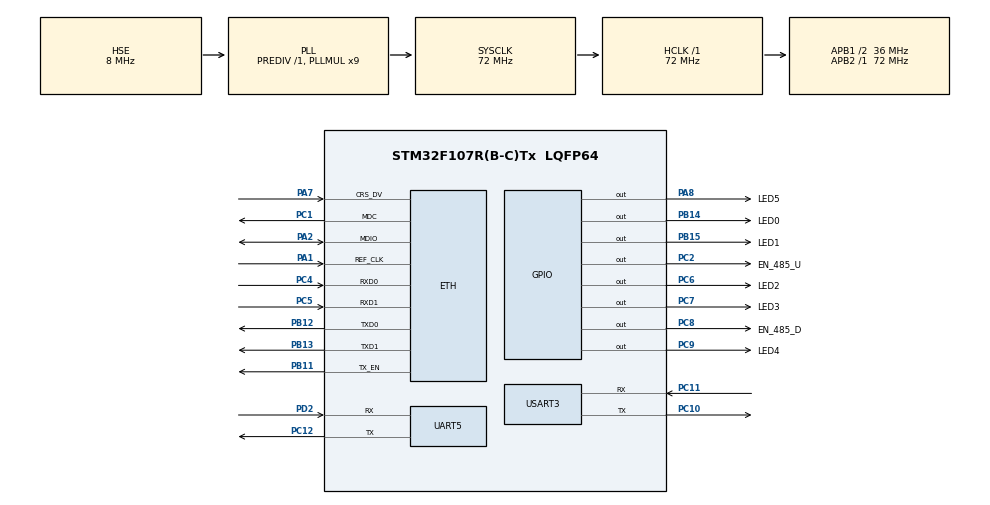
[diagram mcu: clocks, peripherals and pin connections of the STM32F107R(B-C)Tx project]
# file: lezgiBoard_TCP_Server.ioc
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Dma.MEMTOMEM.0.Direction=DMA_MEMORY_TO_MEMORY
Dma.MEMTOMEM.0.Instance=DMA1_Channel1
Dma.MEMTOMEM.0.MemDataAlignment=DMA_MDATAALIGN_BYTE
Dma.MEMTOMEM.0.MemInc=DMA_MINC_ENABLE
Dma.MEMTOMEM.0.Mode=DMA_NORMAL
Dma.MEMTOMEM.0.PeriphDataAlignment=DMA_PDATAALIGN_BYTE
Dma.MEMTOMEM.0.PeriphInc=DMA_PINC_ENABLE
Dma.MEMTOMEM.0.Priority=DMA_PRIORITY_MEDIUM
Dma.Request0=MEMTOMEM
Dma.Request1=USART3_TX
Dma.USART3_TX.1.Direction=DMA_MEMORY_TO_PERIPH
Dma.USART3_TX.1.Instance=DMA1_Channel2
Dma.USART3_TX.1.MemDataAlignment=DMA_MDATAALIGN_BYTE
Dma.USART3_TX.1.MemInc=DMA_MINC_ENABLE
Dma.USART3_TX.1.Mode=DMA_NORMAL
Dma.USART3_TX.1.PeriphDataAlignment=DMA_PDATAALIGN_BYTE
Dma.USART3_TX.1.PeriphInc=DMA_PINC_DISABLE
Dma.USART3_TX.1.Priority=DMA_PRIORITY_LOW
ETH.MediaInterface=ETH_MEDIA_INTERFACE_RMII
IWDG.Prescaler=IWDG_PRESCALER_32
IWDG.Reload=2500
LWIP.LWIP_DNS=1
LWIP.LWIP_NETIF_STATUS_CALLBACK=1
LWIP.Version=v2.0.3_Cube
Mcu.Family=STM32F1
Mcu.Name=STM32F107R(B-C)Tx
Mcu.Package=LQFP64
NVIC.DMA1_Channel1_IRQn=true\:0\:0\:false\:false\:true\:true\:true\:true
NVIC.DMA1_Channel2_IRQn=true\:0\:0\:false\:false\:true\:false\:true\:true
NVIC.ETH_IRQn=true\:0\:0\:false\:false\:true\:true\:true\:true
NVIC.ETH_WKUP_IRQn=true\:0\:0\:false\:false\:true\:true\:true\:true
NVIC.PriorityGroup=NVIC_PRIORITYGROUP_4
NVIC.TIM7_IRQn=true\:15\:0\:false\:false\:true\:false\:true\:true
NVIC.TimeBase=TIM7_IRQn
NVIC.TimeBaseIP=TIM7
NVIC.UART5_IRQn=true\:0\:0\:false\:false\:true\:true\:true\:true
NVIC.USART3_IRQn=true\:0\:0\:false\:false\:true\:true\:true\:true
PA1.Mode=RMII
PA1.Signal=ETH_REF_CLK
PA13.Mode=Serial_Wire
PA13.Signal=SYS_JTMS-SWDIO
PA14.Mode=Serial_Wire
PA14.Signal=SYS_JTCK-SWCLK
PA2.Mode=RMII
PA2.Signal=ETH_MDIO
PA7.Mode=RMII
PA7.Signal=ETH_CRS_DV
PA8.GPIO_Label=LED5
PA8.GPIO_ModeDefaultOutputPP=GPIO_MODE_OUTPUT_PP
PA8.GPIO_PuPd=GPIO_NOPULL
PA8.GPIO_Speed=GPIO_SPEED_FREQ_HIGH
PA8.PinState=GPIO_PIN_RESET
PA8.Signal=GPIO_Output
PB11.Mode=RMII
PB11.Signal=ETH_TX_EN
PB12.Mode=RMII
PB12.Signal=ETH_TXD0
PB13.Mode=RMII
PB13.Signal=ETH_TXD1
PB14.GPIO_Label=LED0
PB14.GPIO_ModeDefaultOutputPP=GPIO_MODE_OUTPUT_PP
PB14.GPIO_PuPd=GPIO_NOPULL
PB14.GPIO_Speed=GPIO_SPEED_FREQ_HIGH
PB14.PinState=GPIO_PIN_RESET
PB14.Signal=GPIO_Output
PB15.GPIO_Label=LED1
PB15.GPIO_ModeDefaultOutputPP=GPIO_MODE_OUTPUT_PP
PB15.GPIO_PuPd=GPIO_NOPULL
PB15.GPIO_Speed=GPIO_SPEED_FREQ_HIGH
PB15.PinState=GPIO_PIN_RESET
PB15.Signal=GPIO_Output
PC1.Mode=RMII
PC1.Signal=ETH_MDC
PC10.Mode=Asynchronous
PC10.Signal=USART3_TX
PC11.Mode=Asynchronous
PC11.Signal=USART3_RX
PC12.Mode=Asynchronous
PC12.Signal=UART5_TX
PC2.GPIO_Label=EN_485_U
PC2.GPIO_Speed=GPIO_SPEED_FREQ_HIGH
PC2.Signal=GPIO_Output
PC4.Mode=RMII
PC4.Signal=ETH_RXD0
PC5.Mode=RMII
PC5.Signal=ETH_RXD1
PC6.GPIO_Label=LED2
PC6.GPIO_ModeDefaultOutputPP=GPIO_MODE_OUTPUT_PP
PC6.GPIO_PuPd=GPIO_NOPULL
PC6.GPIO_Speed=GPIO_SPEED_FREQ_HIGH
PC6.PinState=GPIO_PIN_RESET
PC6.Signal=GPIO_Output
PC7.GPIO_Label=LED3
PC7.GPIO_ModeDefaultOutputPP=GPIO_MODE_OUTPUT_PP
PC7.GPIO_PuPd=GPIO_NOPULL
PC7.GPIO_Speed=GPIO_SPEED_FREQ_HIGH
PC7.PinState=GPIO_PIN_RESET
PC7.Signal=GPIO_Output
PC8.GPIO_Label=EN_485_D
PC8.GPIO_ModeDefaultOutputPP=GPIO_MODE_OUTPUT_PP
PC8.GPIO_PuPd=GPIO_NOPULL
PC8.GPIO_Speed=GPIO_SPEED_FREQ_HIGH
PC8.PinState=GPIO_PIN_RESET
PC8.Signal=GPIO_Output
PC9.GPIO_Label=LED4
PC9.GPIO_ModeDefaultOutputPP=GPIO_MODE_OUTPUT_PP
PC9.GPIO_PuPd=GPIO_NOPULL
PC9.GPIO_Speed=GPIO_SPEED_FREQ_HIGH
PC9.PinState=GPIO_PIN_RESET
PC9.Signal=GPIO_Output
PD0-OSC_IN.Mode=HSE-External-Oscillator
PD0-OSC_IN.Signal=RCC_OSC_IN
PD1-OSC_OUT.Mode=HSE-External-Oscillator
PD1-OSC_OUT.Signal=RCC_OSC_OUT
PD2.Mode=Asynchronous
PD2.Signal=UART5_RX
ProjectManager.HeapSize=0x200
ProjectManager.StackSize=0x400
ProjectManager.TargetToolchain=STM32CubeIDE
RCC.AHBFreq_Value=72000000
RCC.APB1CLKDivider=RCC_HCLK_DIV2
RCC.APB1Freq_Value=36000000
RCC.APB1TimFreq_Value=72000000
RCC.APB2Freq_Value=72000000
RCC.APB2TimFreq_Value=72000000
RCC.EnbaleCSS=true
RCC.HCLKFreq_Value=72000000
RCC.PLLMUL=RCC_PLL_MUL9
RCC.PLLSourceVirtual=RCC_PLLSOURCE_HSE
RCC.SYSCLKFreq_VALUE=72000000
RCC.SYSCLKSource=RCC_SYSCLKSOURCE_PLLCLK
RCC.USBFreq_Value=48000000
UART5.VirtualMode=Asynchronous
USART3.VirtualMode=VM_ASYNC
VP_IWDG_VS_IWDG.Mode=IWDG_Activate
VP_LWIP_VS_Enabled.Mode=Enabled
VP_SYS_VS_tim7.Mode=TIM7
board=custom

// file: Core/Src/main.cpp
/* USER CODE BEGIN Header */
/**
  ******************************************************************************
  * @file           : main.c
  * @brief          : Main program body
  ******************************************************************************
  * @attention
  *
  * Copyright (c) 2026 STMicroelectronics.
  * All rights reserved.
  *
  * This software is licensed under terms that can be found in the LICENSE file
  * in the root directory of this software component.
  * If no LICENSE file comes with this software, it is provided AS-IS.
  *
  ******************************************************************************
  */
/* USER CODE END Header */
#include "main.h"
#include "lwip.h"

/* USER CODE BEGIN Includes */
#include "tcp_server.hpp"
#include "lwip/netif.h"
/* USER CODE END Includes */

IWDG_HandleTypeDef hiwdg;

UART_HandleTypeDef huart5;
UART_HandleTypeDef huart3;
DMA_HandleTypeDef hdma_usart3_tx;

DMA_HandleTypeDef hdma_memtomem_dma1_channel1;
/* USER CODE BEGIN PV */
uint32_t nextLedTime,checkLinkState;
GPIO_PinState currentState;
uint8_t NetBiosName[100];
char buffer[200];
TCPServer *server = nullptr;
bool clientState = false;
err_t err;

extern struct netif gnetif;

uint8_t IPAddr[4],NetMask[4],Gateway[4],GIP[4];
/* USER CODE END PV */

void SystemClock_Config(void);
static void MX_GPIO_Init(void);
static void MX_DMA_Init(void);
static void MX_IWDG_Init(void);
static void MX_UART5_Init(void);
static void MX_USART3_UART_Init(void);
/* USER CODE BEGIN PFP */
void ReadIP(void);
/* USER CODE END PFP */

/* USER CODE BEGIN 0 */
void onNewConnection(TCPServer *_server,struct tcp_pcb *_newpcb)
{
	sprintf(buffer,"Welcome on : %d \r\n",HAL_GetTick()/1000);
	_server->SendData(_newpcb, (uint8_t *)buffer, strlen(buffer));
}
/* USER CODE END 0 */

int main(void)
{

  /* MCU Configuration--------------------------------------------------------*/

  /* Reset of all peripherals, Initializes the Flash interface and the Systick. */
  HAL_Init();

  /* Configure the system clock */
  SystemClock_Config();

  /* Initialize all configured peripherals */
  MX_GPIO_Init();
  MX_DMA_Init();
  MX_LWIP_Init();
  MX_IWDG_Init();
  MX_UART5_Init();
  MX_USART3_UART_Init();
  /* USER CODE BEGIN 2 */
	__HAL_IWDG_START(&hiwdg);
	HAL_IWDG_Refresh(&hiwdg);
	currentState = GPIO_PIN_RESET;
	nextLedTime = HAL_GetTick() + 500;
	checkLinkState = HAL_GetTick() + 1000;
	sprintf((char*)NetBiosName,"LWIPServer");
	netif_set_hostname(&gnetif,(char*)NetBiosName);
	HAL_IWDG_Refresh(&hiwdg);
  /* USER CODE END 2 */

  /* Infinite loop */
  /* USER CODE BEGIN WHILE */
	server = new TCPServer();
	server->setTCPClientNewConnectionEvent(onNewConnection);
  while (1)
  {
	  HAL_IWDG_Refresh(&hiwdg);
	  MX_LWIP_Process();
    /* USER CODE END WHILE */

  }
}

void SystemClock_Config(void)
{
  RCC_OscInitTypeDef RCC_OscInitStruct = {0};
  RCC_ClkInitTypeDef RCC_ClkInitStruct = {0};

  /** Initializes the RCC Oscillators according to the specified parameters
  * in the RCC_OscInitTypeDef structure.
  */
  RCC_OscInitStruct.OscillatorType = RCC_OSCILLATORTYPE_LSI|RCC_OSCILLATORTYPE_HSE;
  RCC_OscInitStruct.HSEState = RCC_HSE_ON;
  RCC_OscInitStruct.HSEPredivValue = RCC_HSE_PREDIV_DIV1;
  RCC_OscInitStruct.HSIState = RCC_HSI_ON;
  RCC_OscInitStruct.LSIState = RCC_LSI_ON;
  RCC_OscInitStruct.Prediv1Source = RCC_PREDIV1_SOURCE_HSE;
  RCC_OscInitStruct.PLL.PLLState = RCC_PLL_ON;
  RCC_OscInitStruct.PLL.PLLSource = RCC_PLLSOURCE_HSE;
  RCC_OscInitStruct.PLL.PLLMUL = RCC_PLL_MUL9;
  RCC_OscInitStruct.PLL2.PLL2State = RCC_PLL_NONE;
  if (HAL_RCC_OscConfig(&RCC_OscInitStruct) != HAL_OK)
  {
    Error_Handler();
  }

  /** Initializes the CPU, AHB and APB buses clocks
  */
  RCC_ClkInitStruct.ClockType = RCC_CLOCKTYPE_HCLK|RCC_CLOCKTYPE_SYSCLK
                              |RCC_CLOCKTYPE_PCLK1|RCC_CLOCKTYPE_PCLK2;
  RCC_ClkInitStruct.SYSCLKSource = RCC_SYSCLKSOURCE_PLLCLK;
  RCC_ClkInitStruct.AHBCLKDivider = RCC_SYSCLK_DIV1;
  RCC_ClkInitStruct.APB1CLKDivider = RCC_HCLK_DIV2;
  RCC_ClkInitStruct.APB2CLKDivider = RCC_HCLK_DIV1;

  if (HAL_RCC_ClockConfig(&RCC_ClkInitStruct, FLASH_LATENCY_2) != HAL_OK)
  {
    Error_Handler();
  }

  /** Enables the Clock Security System
  */
  HAL_RCC_EnableCSS();

  /** Configure the Systick interrupt time
  */
  __HAL_RCC_PLLI2S_ENABLE();
}

static void MX_IWDG_Init(void)
{

  hiwdg.Instance = IWDG;
  hiwdg.Init.Prescaler = IWDG_PRESCALER_32;
  hiwdg.Init.Reload = 2500;
  if (HAL_IWDG_Init(&hiwdg) != HAL_OK)
  {
    Error_Handler();
  }

}

static void MX_UART5_Init(void)
{

  huart5.Instance = UART5;
  huart5.Init.BaudRate = 115200;
  huart5.Init.WordLength = UART_WORDLENGTH_8B;
  huart5.Init.StopBits = UART_STOPBITS_1;
  huart5.Init.Parity = UART_PARITY_NONE;
  huart5.Init.Mode = UART_MODE_TX_RX;
  huart5.Init.HwFlowCtl = UART_HWCONTROL_NONE;
  huart5.Init.OverSampling = UART_OVERSAMPLING_16;
  if (HAL_UART_Init(&huart5) != HAL_OK)
  {
    Error_Handler();
  }

}

static void MX_USART3_UART_Init(void)
{

  huart3.Instance = USART3;
  huart3.Init.BaudRate = 115200;
  huart3.Init.WordLength = UART_WORDLENGTH_8B;
  huart3.Init.StopBits = UART_STOPBITS_1;
  huart3.Init.Parity = UART_PARITY_NONE;
  huart3.Init.Mode = UART_MODE_TX_RX;
  huart3.Init.HwFlowCtl = UART_HWCONTROL_NONE;
  huart3.Init.OverSampling = UART_OVERSAMPLING_16;
  if (HAL_UART_Init(&huart3) != HAL_OK)
  {
    Error_Handler();
  }

}

static void MX_DMA_Init(void)
{

  /* DMA controller clock enable */
  __HAL_RCC_DMA1_CLK_ENABLE();

  /* Configure DMA request hdma_memtomem_dma1_channel1 on DMA1_Channel1 */
  hdma_memtomem_dma1_channel1.Instance = DMA1_Channel1;
  hdma_memtomem_dma1_channel1.Init.Direction = DMA_MEMORY_TO_MEMORY;
  hdma_memtomem_dma1_channel1.Init.PeriphInc = DMA_PINC_ENABLE;
  hdma_memtomem_dma1_channel1.Init.MemInc = DMA_MINC_ENABLE;
  hdma_memtomem_dma1_channel1.Init.PeriphDataAlignment = DMA_PDATAALIGN_BYTE;
  hdma_memtomem_dma1_channel1.Init.MemDataAlignment = DMA_MDATAALIGN_BYTE;
  hdma_memtomem_dma1_channel1.Init.Mode = DMA_NORMAL;
  hdma_memtomem_dma1_channel1.Init.Priority = DMA_PRIORITY_MEDIUM;
  if (HAL_DMA_Init(&hdma_memtomem_dma1_channel1) != HAL_OK)
  {
    Error_Handler( );
  }

  /* DMA interrupt init */
  /* DMA1_Channel1_IRQn interrupt configuration */
  HAL_NVIC_SetPriority(DMA1_Channel1_IRQn, 0, 0);
  HAL_NVIC_EnableIRQ(DMA1_Channel1_IRQn);
  /* DMA1_Channel2_IRQn interrupt configuration */
  HAL_NVIC_SetPriority(DMA1_Channel2_IRQn, 0, 0);
  HAL_NVIC_EnableIRQ(DMA1_Channel2_IRQn);

}

static void MX_GPIO_Init(void)
{
  GPIO_InitTypeDef GPIO_InitStruct = {0};

  /* GPIO Ports Clock Enable */
  __HAL_RCC_GPIOD_CLK_ENABLE();
  __HAL_RCC_GPIOC_CLK_ENABLE();
  __HAL_RCC_GPIOA_CLK_ENABLE();
  __HAL_RCC_GPIOB_CLK_ENABLE();

  /*Configure GPIO pin Output Level */
  HAL_GPIO_WritePin(GPIOC, EN_485_U_Pin|LED2_Pin|LED3_Pin|EN_485_D_Pin
                          |LED4_Pin, GPIO_PIN_RESET);

  /*Configure GPIO pin Output Level */
  HAL_GPIO_WritePin(GPIOB, LED0_Pin|LED1_Pin, GPIO_PIN_RESET);

  /*Configure GPIO pin Output Level */
  HAL_GPIO_WritePin(LED5_GPIO_Port, LED5_Pin, GPIO_PIN_RESET);

  /*Configure GPIO pins : EN_485_U_Pin LED2_Pin LED3_Pin EN_485_D_Pin
                           LED4_Pin */
  GPIO_InitStruct.Pin = EN_485_U_Pin|LED2_Pin|LED3_Pin|EN_485_D_Pin
                          |LED4_Pin;
  GPIO_InitStruct.Mode = GPIO_MODE_OUTPUT_PP;
  GPIO_InitStruct.Pull = GPIO_NOPULL;
  GPIO_InitStruct.Speed = GPIO_SPEED_FREQ_HIGH;
  HAL_GPIO_Init(GPIOC, &GPIO_InitStruct);

  /*Configure GPIO pins : LED0_Pin LED1_Pin */
  GPIO_InitStruct.Pin = LED0_Pin|LED1_Pin;
  GPIO_InitStruct.Mode = GPIO_MODE_OUTPUT_PP;
  GPIO_InitStruct.Pull = GPIO_NOPULL;
  GPIO_InitStruct.Speed = GPIO_SPEED_FREQ_HIGH;
  HAL_GPIO_Init(GPIOB, &GPIO_InitStruct);

  /*Configure GPIO pin : LED5_Pin */
  GPIO_InitStruct.Pin = LED5_Pin;
  GPIO_InitStruct.Mode = GPIO_MODE_OUTPUT_PP;
  GPIO_InitStruct.Pull = GPIO_NOPULL;
  GPIO_InitStruct.Speed = GPIO_SPEED_FREQ_HIGH;
  HAL_GPIO_Init(LED5_GPIO_Port, &GPIO_InitStruct);

}

/* USER CODE BEGIN 4 */
void ReadIP(void)
{
	IPAddr[0] = gnetif.ip_addr.addr >> 0;
	IPAddr[1] = gnetif.ip_addr.addr >> 8;
	IPAddr[2] = gnetif.ip_addr.addr >> 16;
	IPAddr[3] = gnetif.ip_addr.addr >> 24;

	NetMask[0] = gnetif.netmask.addr >> 0;
	NetMask[1] = gnetif.netmask.addr >> 8;
	NetMask[2] = gnetif.netmask.addr >> 16;
	NetMask[3] = gnetif.netmask.addr >> 24;

	Gateway[0] = gnetif.gw.addr >> 0;
	Gateway[1] = gnetif.gw.addr >> 8;
	Gateway[2] = gnetif.gw.addr >> 16;
	Gateway[3] = gnetif.gw.addr >> 24;
}
/* USER CODE END 4 */

void HAL_TIM_PeriodElapsedCallback(TIM_HandleTypeDef *htim)
{
  if (htim->Instance == TIM7)
  {
    HAL_IncTick();
    if(HAL_GetTick() >= checkLinkState)
	{
		checkLinkState = HAL_GetTick() + 1000;
		if (netif_is_link_up(&gnetif))
		{
			HAL_GPIO_WritePin(LED4_GPIO_Port, LED4_Pin, GPIO_PIN_SET);
		}
		else
		{
			HAL_GPIO_WritePin(LED4_GPIO_Port, LED4_Pin, GPIO_PIN_RESET);
		}

		if (netif_is_up(&gnetif))
		{
			HAL_GPIO_WritePin(LED5_GPIO_Port, LED5_Pin, GPIO_PIN_SET);
			if(IPAddr[0] == 0)
			{
				ReadIP();
			}
			else
			{
				if(!server->getIsListenning())
				{
					HAL_GPIO_WritePin(LED2_GPIO_Port, LED2_Pin, GPIO_PIN_RESET);
					server->init(1000);
				}
				else
				{
					HAL_GPIO_WritePin(LED2_GPIO_Port, LED2_Pin, GPIO_PIN_SET);
				}
//				if(!client->isConnected())
//				{
//					GIP[0] = 192;
//					GIP[1] = 168;
//					GIP[2] = 1;
//					GIP[3] = 100;
//					err = client->connect(1000, GIP);
//				}
//				else
//				{
//					sprintf(buffer,"Time : %07d\r\n",HAL_GetTick()/1000);
//					err = client->SendData((uint8_t *)buffer, sizeof(buffer));
//				}
			}
		}
		else
		{
			HAL_GPIO_WritePin(LED5_GPIO_Port, LED5_Pin, GPIO_PIN_RESET);
		}
	}
	if(HAL_GetTick() >= nextLedTime)
	{
		nextLedTime = HAL_GetTick() + 500;
		//HAL_GPIO_WritePin(LED0_GPIO_Port, LED0_Pin, currentState);
		//HAL_GPIO_WritePin(LED1_GPIO_Port, LED1_Pin, currentState);
		//HAL_GPIO_WritePin(LED2_GPIO_Port, LED2_Pin, currentState);
		//HAL_GPIO_WritePin(LED3_GPIO_Port, LED3_Pin, currentState);
		//HAL_GPIO_WritePin(LED4_GPIO_Port, LED4_Pin, currentState);
		//HAL_GPIO_WritePin(LED5_GPIO_Port, LED5_Pin, currentState);
		HAL_GPIO_TogglePin(LED1_GPIO_Port, LED1_Pin);
	}
  }
}

void Error_Handler(void)
{
  __disable_irq();
  while (1)
  {
  }
}
